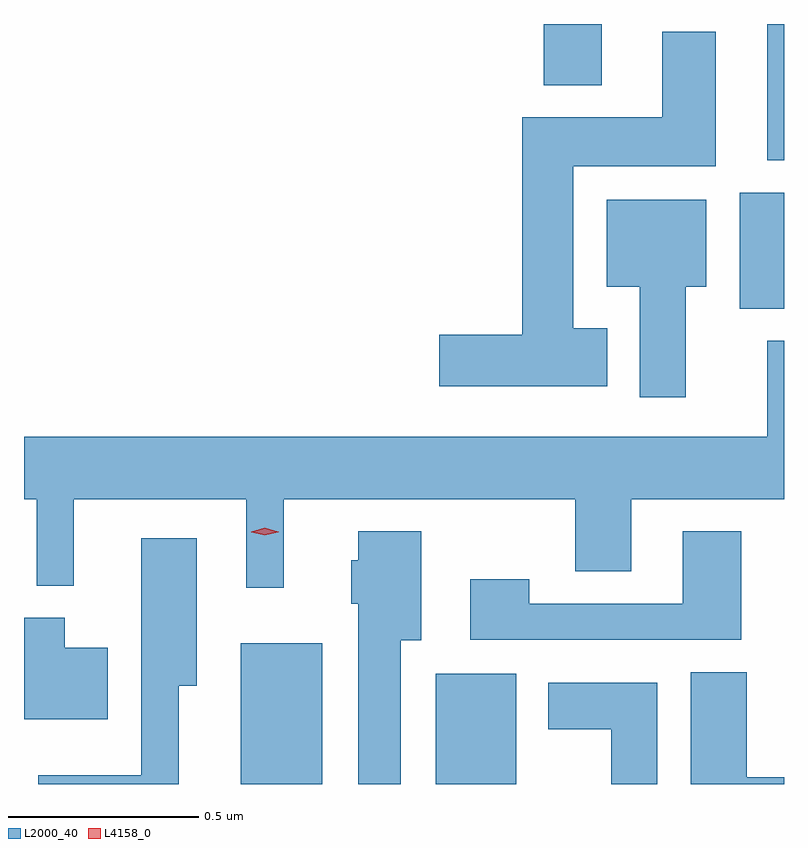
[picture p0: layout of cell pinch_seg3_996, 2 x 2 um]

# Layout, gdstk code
import gdstk
lib = gdstk.Library(unit=1e-6, precision=1e-09)
def R(c, l, rs):  # rectangles x0, y0, x1, y1
    for r in rs: c.add(gdstk.rectangle(r[:2], r[2:], *l))
def P(c, l, *ps):  # polygons
    for p in ps: c.add(gdstk.Polygon(p, *l))
L2000_40 = (2000, 40)
L4158_0 = (4158, 0)

pinch_seg3_996 = lib.new_cell('pinch_seg3_996')
R(pinch_seg3_996, L2000_40, [(413.027,736.13,413.242,736.501), (413.54,736.13,413.752,736.42), (414.341,737.381,414.457,737.686), (414.413,737.771,414.457,738.13), (413.825,737.969,413.977,738.13)])
P(pinch_seg3_996, L2000_40, [(413.992,737.329),(413.902,737.329),(413.902,737.756),(414.277,737.756),(414.277,738.109),(414.137,738.109),(414.137,737.884),(413.768,737.884),(413.768,737.312),(413.55,737.312),(413.55,737.177),(413.992,737.177)],
  [(414.199,737.438),(414.253,737.438),(414.253,737.668),(413.99,737.668),(413.99,737.438),(414.077,737.438),(414.077,737.148),(414.199,737.148)],
  [(413.14,736.88),(413.908,736.88),(413.908,736.69),(414.055,736.69),(414.055,736.88),(414.457,736.88),(414.457,737.296),(414.413,737.296),(414.413,737.044),(412.457,737.044),(412.457,736.88),(412.49,736.88),(412.49,736.652),(412.588,736.652),(412.588,736.88),(413.042,736.88),(413.042,736.647),(413.14,736.647)],
  [(413.449,736.508),(413.503,736.508),(413.503,736.795),(413.336,736.795),(413.336,736.719),(413.318,736.719),(413.318,736.605),(413.336,736.605),(413.336,736.13),(413.449,736.13)],
  [(414.344,736.795),(414.191,736.795),(414.191,736.605),(413.787,736.605),(413.787,736.669),(413.631,736.669),(413.631,736.509),(414.344,736.509)],
  [(412.864,736.388),(412.912,736.388),(412.912,736.777),(412.766,736.777),(412.766,736.153),(412.494,736.153),(412.494,736.13),(412.864,736.13)],
  [(412.678,736.489),(412.564,736.489),(412.564,736.567),(412.457,736.567),(412.457,736.301),(412.678,736.301)],
  [(414.457,736.148),(414.359,736.148),(414.359,736.424),(414.212,736.424),(414.212,736.13),(414.457,736.13)],
  [(414.124,736.396),(413.837,736.396),(413.837,736.274),(414.002,736.274),(414.002,736.13),(414.124,736.13)])
P(pinch_seg3_996, L4158_0, [(413.091,736.784),(413.055,736.793),(413.055,736.794),(413.055,736.794),(413.091,736.804),(413.126,736.794),(413.127,736.794),(413.126,736.793)])

lib.write_gds('pinch_seg3_996.gds')
